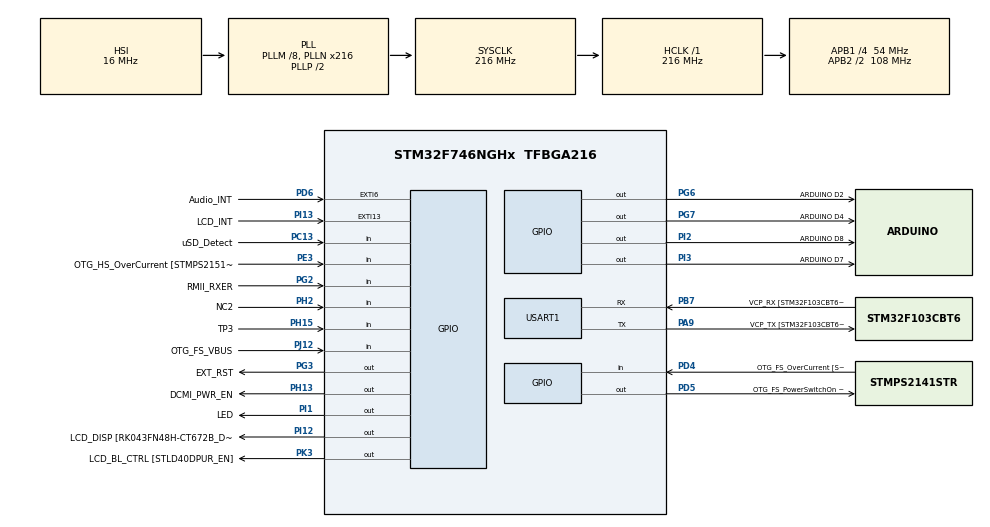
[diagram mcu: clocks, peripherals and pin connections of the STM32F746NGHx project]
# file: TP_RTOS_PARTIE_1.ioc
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FREERTOS.Tasks01=defaultTask,0,128,StartDefaultTask,Default,NULL,Dynamic,NULL,NULL
Mcu.Family=STM32F7
Mcu.Name=STM32F746NGHx
Mcu.Package=TFBGA216
NVIC.PriorityGroup=NVIC_PRIORITYGROUP_4
PA0/WKUP.GPIO_Label=ARDUINO A0
PA0/WKUP.GPIO_Mode=GPIO_MODE_ANALOG
PA0/WKUP.GPIO_PuPd=GPIO_NOPULL
PA0/WKUP.Signal=ADCx_IN0
PA1.GPIO_Label=RMII_REF_CLK [LAN8742A-CZ-TR_REFCLK0]
PA1.Signal=ETH_REF_CLK
PA10.GPIO_Label=OTG_FS_ID
PA10.Signal=USB_OTG_FS_ID
PA11.GPIO_Label=OTG_FS_N
PA11.Signal=USB_OTG_FS_DM
PA12.GPIO_Label=OTG_FS_P
PA12.Signal=USB_OTG_FS_DP
PA13.GPIO_Label=SWDIO
PA13.Mode=Serial_Wire
PA13.Signal=SYS_JTMS-SWDIO
PA14.GPIO_Label=SWCLK
PA14.Mode=Serial_Wire
PA14.Signal=SYS_JTCK-SWCLK
PA15.GPIO_Label=ARDUINO PWM/D9
PA15.GPIO_ModeDefaultPP=GPIO_MODE_AF_PP
PA15.GPIO_PuPd=GPIO_NOPULL
PA15.GPIO_Speed=GPIO_SPEED_FREQ_LOW
PA15.Signal=S_TIM2_CH1_ETR
PA2.GPIO_Label=RMII_MDIO [LAN8742A-CZ-TR_MDIO]
PA2.Signal=ETH_MDIO
PA3.GPIO_Label=ULPI_D0 [USB3320C-EZK_D0]
PA3.Signal=USB_OTG_HS_ULPI_D0
PA4.GPIO_Label=DCMI_HSYNC
PA4.Signal=DCMI_HSYNC
PA5.GPIO_Label=ULPI_CLK [USB3320C-EZK_CLKOUT]
PA5.Signal=USB_OTG_HS_ULPI_CK
PA6.Signal=DCMI_PIXCLK
PA7.GPIO_Label=RMII_CRS_DV [LAN8742A-CZ-TR_CRS_DV]
PA7.Signal=ETH_CRS_DV
PA8.GPIO_Label=ARDUINO PWM/D10
PA8.GPIO_ModeDefaultPP=GPIO_MODE_AF_PP
PA8.GPIO_PuPd=GPIO_NOPULL
PA8.GPIO_Speed=GPIO_SPEED_FREQ_LOW
PA8.Signal=S_TIM1_CH1
PA9.GPIO_Label=VCP_TX [STM32F103CBT6_PA3]
PA9.GPIO_Mode=GPIO_MODE_AF_PP
PA9.GPIO_PuPd=GPIO_NOPULL
PA9.GPIO_Speed=GPIO_SPEED_FREQ_LOW
PA9.Mode=Asynchronous
PA9.Signal=USART1_TX
PB0.GPIO_Label=ULPI_D1 [USB3320C-EZK_D1]
PB0.Signal=USB_OTG_HS_ULPI_D1
PB1.GPIO_Label=ULPI_D2 [USB3320C-EZK_D2]
PB1.Signal=USB_OTG_HS_ULPI_D2
PB10.GPIO_Label=ULPI_D3 [USB3320C-EZK_D3]
PB10.Signal=USB_OTG_HS_ULPI_D3
PB11.GPIO_Label=ULPI_D4 [USB3320C-EZK_D4]
PB11.Signal=USB_OTG_HS_ULPI_D4
PB12.GPIO_Label=ULPI_D5 [USB3320C-EZK_D5]
PB12.Signal=USB_OTG_HS_ULPI_D5
PB13.GPIO_Label=ULPI_D6 [USB3320C-EZK_D6]
PB13.Signal=USB_OTG_HS_ULPI_D6
PB14.GPIO_Label=ARDUINO MISO/D12
PB14.GPIO_Mode=GPIO_MODE_AF_PP
PB14.GPIO_PuPd=GPIO_NOPULL
PB14.GPIO_Speed=GPIO_SPEED_FREQ_LOW
PB14.Signal=SPI2_MISO
PB15.GPIO_Label=ARDUINO MOSI/PWM/D11
PB15.GPIO_Mode=GPIO_MODE_AF_PP
PB15.GPIO_PuPd=GPIO_NOPULL
PB15.GPIO_Speed=GPIO_SPEED_FREQ_LOW
PB15.Signal=SPI2_MOSI
PB2.Signal=QUADSPI_CLK
PB3.GPIO_Label=SWO
PB3.Signal=SYS_JTDO-SWO
PB4.GPIO_Label=ARDUINO PWM/D3
PB4.GPIO_ModeDefaultPP=GPIO_MODE_AF_PP
PB4.GPIO_PuPd=GPIO_NOPULL
PB4.GPIO_Speed=GPIO_SPEED_FREQ_LOW
PB4.Signal=S_TIM3_CH1
PB5.GPIO_Label=ULPI_D7 [USB3320C-EZK_D7]
PB5.Signal=USB_OTG_HS_ULPI_D7
PB6.GPIO_Label=QSPI_NCS [N25Q128A13EF840E_S]
PB6.Signal=QUADSPI_BK1_NCS
PB7.GPIO_Label=VCP_RX [STM32F103CBT6_PA2]
PB7.GPIO_Mode=GPIO_MODE_AF_PP
PB7.GPIO_PuPd=GPIO_NOPULL
PB7.GPIO_Speed=GPIO_SPEED_FREQ_LOW
PB7.Mode=Asynchronous
PB7.Signal=USART1_RX
PB8.GPIO_Label=ARDUINO SCL/D15
PB8.GPIO_Mode=GPIO_MODE_AF_OD
PB8.GPIO_PuPd=GPIO_NOPULL
PB8.GPIO_Speed=GPIO_SPEED_FREQ_LOW
PB8.Signal=I2C1_SCL
PB9.GPIO_Label=ARDUINO SDA/D14
PB9.GPIO_Mode=GPIO_MODE_AF_OD
PB9.GPIO_PuPd=GPIO_NOPULL
PB9.GPIO_Speed=GPIO_SPEED_FREQ_LOW
PB9.Signal=I2C1_SDA
PC0.GPIO_Label=ULPI_STP [USB3320C-EZK_STP]
PC0.Signal=USB_OTG_HS_ULPI_STP
PC1.GPIO_Label=RMII_MDC [LAN8742A-CZ-TR_MDC]
PC1.Signal=ETH_MDC
PC10.GPIO_Label=SDMMC_D2
PC10.Signal=SDMMC1_D2
PC11.GPIO_Label=SDMMC_D3
PC11.Signal=SDMMC1_D3
PC12.GPIO_Label=SDMMC_CK
PC12.Signal=SDMMC1_CK
PC13.GPIO_Label=uSD_Detect
PC13.Signal=GPIO_Input
PC14/OSC32_IN.GPIO_Label=RCC_OSC32_IN
PC14/OSC32_IN.Signal=RCC_OSC32_IN
PC15/OSC32_OUT.GPIO_Label=RCC_OSC32_OUT
PC15/OSC32_OUT.Signal=RCC_OSC32_OUT
PC2.GPIO_Label=ULPI_DIR [USB3320C-EZK_DIR]
PC2.Signal=USB_OTG_HS_ULPI_DIR
PC3.GPIO_Label=FMC_SDCKE0 [MT48LC4M32B2B5-6A_CKE]
PC3.Signal=FMC_SDCKE0
PC4.GPIO_Label=RMII_RXD0 [LAN8742A-CZ-TR_RXD0]
PC4.Signal=ETH_RXD0
PC5.GPIO_Label=RMII_RXD1 [LAN8742A-CZ-TR_RXD1]
PC5.Signal=ETH_RXD1
PC6.GPIO_Label=ARDUINO TX/D1
PC6.Signal=USART6_TX
PC7.GPIO_Label=ARDUINO RX/D0
PC7.Signal=USART6_RX
PC8.Signal=SDMMC1_D0
PC9.Signal=SDMMC1_D1
PD0.GPIO_Label=FMC_D2 [MT48LC4M32B2B5-6A_DQ2]
PD0.Signal=FMC_D2_DA2
PD1.GPIO_Label=FMC_D3 [MT48LC4M32B2B5-6A_DQ3]
PD1.Signal=FMC_D3_DA3
PD10.GPIO_Label=FMC_D15 [MT48LC4M32B2B5-6A_DQ15]
PD10.Signal=FMC_D15_DA15
PD11.GPIO_Label=QSPI_D0 [N25Q128A13EF840E_DQ0]
PD11.Signal=QUADSPI_BK1_IO0
PD12.GPIO_Label=QSPI_D1 [N25Q128A13EF840E_DQ1]
PD12.Signal=QUADSPI_BK1_IO1
PD13.GPIO_Label=QSPI_D3 [N25Q128A13EF840E_DQ3]
PD13.Signal=QUADSPI_BK1_IO3
PD14.GPIO_Label=FMC_D0 [MT48LC4M32B2B5-6A_DQ0]
PD14.Signal=FMC_D0_DA0
PD15.GPIO_Label=FMC_D1 [MT48LC4M32B2B5-6A_DQ1]
PD15.Signal=FMC_D1_DA1
PD2.GPIO_Label=SDMMC_D0
PD2.Signal=SDMMC1_CMD
PD3.GPIO_Label=DCMI_D5
PD3.Signal=DCMI_D5
PD4.GPIO_Label=OTG_FS_OverCurrent [STMPS2141STR_Fault]
PD4.Signal=GPIO_Input
PD5.GPIO_Label=OTG_FS_PowerSwitchOn [STMPS2141STR_EN]
PD5.PinState=GPIO_PIN_SET
PD5.Signal=GPIO_Output
PD6.GPIO_Label=Audio_INT
PD6.GPIO_ModeDefaultEXTI=GPIO_MODE_EVT_RISING
PD6.Signal=GPXTI6
PD7.GPIO_Label=SPDIF_RX0 [74LVC1G04SE_4]
PD7.Signal=SPDIFRX_IN0
PD8.GPIO_Label=FMC_D13 [MT48LC4M32B2B5-6A_DQ13]
PD8.Signal=FMC_D13_DA13
PD9.GPIO_Label=FMC_D14 [MT48LC4M32B2B5-6A_DQ14]
PD9.Signal=FMC_D14_DA14
PE0.GPIO_Label=FMC_NBL0 [MT48LC4M32B2B5-6A_DQM0]
PE0.Signal=FMC_NBL0
PE1.GPIO_Label=FMC_NBL1 [MT48LC4M32B2B5-6A_DQM1]
PE1.Signal=FMC_NBL1
PE10.GPIO_Label=FMC_D7 [MT48LC4M32B2B5-6A_DQ7]
PE10.Signal=FMC_D7_DA7
PE11.GPIO_Label=FMC_D8 [MT48LC4M32B2B5-6A_DQ8]
PE11.Signal=FMC_D8_DA8
PE12.GPIO_Label=FMC_D9 [MT48LC4M32B2B5-6A_DQ9]
PE12.Signal=FMC_D9_DA9
PE13.GPIO_Label=FMC_D10 [MT48LC4M32B2B5-6A_DQ10]
PE13.Signal=FMC_D10_DA10
PE14.GPIO_Label=FMC_D11 [MT48LC4M32B2B5-6A_DQ11]
PE14.Signal=FMC_D11_DA11
PE15.GPIO_Label=FMC_D12 [MT48LC4M32B2B5-6A_DQ12]
PE15.Signal=FMC_D12_DA12
PE2.GPIO_Label=QSPI_D2 [N25Q128A13EF840E_DQ2]
PE2.Signal=QUADSPI_BK1_IO2
PE3.GPIO_Label=OTG_HS_OverCurrent [STMPS2151STR_FAULT]
PE3.Signal=GPIO_Input
PE4.GPIO_Label=LCD_B0 [RK043FN48H-CT672B_B0]
PE4.Signal=LTDC_B0
PE5.GPIO_Label=DCMI_D6
PE5.Signal=DCMI_D6
PE6.GPIO_Label=DCMI_D7
PE6.Signal=DCMI_D7
PE7.GPIO_Label=FMC_D4 [MT48LC4M32B2B5-6A_DQ4]
PE7.Signal=FMC_D4_DA4
PE8.GPIO_Label=FMC_D5 [MT48LC4M32B2B5-6A_DQ5]
PE8.Signal=FMC_D5_DA5
PE9.GPIO_Label=FMC_D6 [MT48LC4M32B2B5-6A_DQ6]
PE9.Signal=FMC_D6_DA6
PF0.GPIO_Label=FMC_A0 [MT48LC4M32B2B5-6A_A0]
PF0.Signal=FMC_A0
PF1.GPIO_Label=FMC_A1 [MT48LC4M32B2B5-6A_A1]
PF1.Signal=FMC_A1
PF10.GPIO_Label=ARDUINO A1
PF10.GPIO_Mode=GPIO_MODE_ANALOG
PF10.GPIO_PuPd=GPIO_NOPULL
PF10.Signal=ADC3_IN8
PF11.GPIO_Label=FMC_SDNRAS [MT48LC4M32B2B5-6A_RAS]
PF11.Signal=FMC_SDNRAS
PF12.GPIO_Label=FMC_A6 [MT48LC4M32B2B5-6A_A6]
PF12.Signal=FMC_A6
PF13.GPIO_Label=FMC_A7 [MT48LC4M32B2B5-6A_A7]
PF13.Signal=FMC_A7
PF14.GPIO_Label=FMC_A8 [MT48LC4M32B2B5-6A_A8]
PF14.Signal=FMC_A8
PF15.GPIO_Label=FMC_A9 [MT48LC4M32B2B5-6A_A9]
PF15.Signal=FMC_A9
PF2.GPIO_Label=FMC_A2 [MT48LC4M32B2B5-6A_A2]
PF2.Signal=FMC_A2
PF3.GPIO_Label=FMC_A3 [MT48LC4M32B2B5-6A_A3]
PF3.Signal=FMC_A3
PF4.GPIO_Label=FMC_A4 [MT48LC4M32B2B5-6A_A4]
PF4.Signal=FMC_A4
PF5.GPIO_Label=FMC_A5 [MT48LC4M32B2B5-6A_A5]
PF5.Signal=FMC_A5
PF6.GPIO_Label=ARDUINO A5
PF6.GPIO_Mode=GPIO_MODE_ANALOG
PF6.GPIO_PuPd=GPIO_NOPULL
PF6.Signal=ADC3_IN4
PF7.GPIO_Label=ARDUINO A4
PF7.GPIO_Mode=GPIO_MODE_ANALOG
PF7.GPIO_PuPd=GPIO_NOPULL
PF7.Signal=ADC3_IN5
PF8.GPIO_Label=ARDUINO A3
PF8.GPIO_Mode=GPIO_MODE_ANALOG
PF8.GPIO_PuPd=GPIO_NOPULL
PF8.Signal=ADC3_IN6
PF9.GPIO_Label=ARDUINO A2
PF9.GPIO_Mode=GPIO_MODE_ANALOG
PF9.GPIO_PuPd=GPIO_NOPULL
PF9.Signal=ADC3_IN7
PG0.GPIO_Label=FMC_A10 [MT48LC4M32B2B5-6A_A10]
PG0.Signal=FMC_A10
PG1.GPIO_Label=FMC_A11 [MT48LC4M32B2B5-6A_A11]
PG1.Signal=FMC_A11
PG10.GPIO_Label=SAI2_SDB [WM8994ECS/R_ADCDAT1]
PG10.Signal=SAI2_SD_B
PG11.GPIO_Label=RMII_TX_EN [LAN8742A-CZ-TR_TXEN]
PG11.Signal=ETH_TX_EN
PG12.GPIO_Label=LCD_B4 [RK043FN48H-CT672B_B4]
PG12.Signal=LTDC_B4
PG13.GPIO_Label=RMII_TXD0 [LAN8742A-CZ-TR_TXD0]
PG13.Signal=ETH_TXD0
PG14.GPIO_Label=RMII_TXD1 [LAN8742A-CZ-TR_TXD1]
PG14.Signal=ETH_TXD1
PG15.GPIO_Label=FMC_SDNCAS [MT48LC4M32B2B5-6A_CAS]
PG15.Signal=FMC_SDNCAS
PG2.GPIO_Label=RMII_RXER
PG2.Signal=GPIO_Input
PG3.GPIO_Label=EXT_RST
PG3.Signal=GPIO_Output
PG4.GPIO_Label=FMC_BA0 [MT48LC4M32B2B5-6A_BA0]
PG4.Signal=FMC_A14_BA0
PG5.GPIO_Label=FMC_BA1 [MT48LC4M32B2B5-6A_BA1]
PG5.Signal=FMC_A15_BA1
PG6.GPIO_Label=ARDUINO D2
PG6.Signal=GPIO_Output
PG7.GPIO_Label=ARDUINO D4
PG7.Signal=GPIO_Output
PG8.GPIO_Label=FMC_SDCLK [MT48LC4M32B2B5-6A_CLK]
PG8.Signal=FMC_SDCLK
PG9.GPIO_Label=DCMI_VSYNC
PG9.Signal=DCMI_VSYNC
PH0/OSC_IN.GPIO_Label=OSC_25M [NZ2520SB-25.00M_OUT]
PH0/OSC_IN.Mode=HSE-External-Oscillator
PH0/OSC_IN.Signal=RCC_OSC_IN
PH1/OSC_OUT.Mode=HSE-External-Oscillator
PH1/OSC_OUT.Signal=RCC_OSC_OUT
PH10.GPIO_Label=DCMI_D1
PH10.Signal=DCMI_D1
PH11.GPIO_Label=DCMI_D2
PH11.Signal=DCMI_D2
PH12.GPIO_Label=DCMI_D3
PH12.Signal=DCMI_D3
PH13.GPIO_Label=DCMI_PWR_EN
PH13.Signal=GPIO_Output
PH14.GPIO_Label=DCMI_D4
PH14.Signal=DCMI_D4
PH15.GPIO_Label=TP3
PH15.Signal=GPIO_Input
PH2.GPIO_Label=NC2
PH2.Signal=GPIO_Input
PH3.GPIO_Label=FMC_SDNE0 [MT48LC4M32B2B5-6A_CS]
PH3.Signal=FMC_SDNE0
PH4.GPIO_Label=ULPI_NXT [USB3320C-EZK_NXT]
PH4.Signal=USB_OTG_HS_ULPI_NXT
PH5.GPIO_Label=FMC_SDNME [MT48LC4M32B2B5-6A_WE]
PH5.Signal=FMC_SDNWE
PH6.GPIO_Label=ARDUINO PWM/D6
PH6.Signal=S_TIM12_CH1
PH7.GPIO_Label=LCD_SCL [RK043FN48H-CT672B_SCL]
PH7.Signal=I2C3_SCL
PH8.GPIO_Label=LCD_SDA [RK043FN48H-CT672B_SDA]
PH8.Signal=I2C3_SDA
PH9.GPIO_Label=DCMI_D0
PH9.Signal=DCMI_D0
PI0.GPIO_Label=ARDUINO PWM/CS/D5
PI0.GPIO_ModeDefaultPP=GPIO_MODE_AF_PP
PI0.GPIO_PuPd=GPIO_NOPULL
PI0.GPIO_Speed=GPIO_SPEED_FREQ_LOW
PI0.Signal=S_TIM5_CH4
PI1.GPIO_Label=LED
PI1.Signal=GPIO_Output
PI10.GPIO_Label=LCD_HSYNC [RK043FN48H-CT672B_HSYNC]
PI10.Signal=LTDC_HSYNC
PI12.GPIO_Label=LCD_DISP [RK043FN48H-CT672B_DISP] 
PI12.Signal=GPIO_Output
PI13.GPIO_Label=LCD_INT
PI13.GPIO_ModeDefaultEXTI=GPIO_MODE_EVT_RISING
PI13.Signal=GPXTI13
PI14.GPIO_Label=LCD_CLK [RK043FN48H-CT672B_CLK]
PI14.Signal=LTDC_CLK
PI15.GPIO_Label=LCD_R0 [RK043FN48H-CT672B_R0]
PI15.Signal=LTDC_R0
PI2.GPIO_Label=ARDUINO D8
PI2.Signal=GPIO_Output
PI3.GPIO_Label=ARDUINO D7
PI3.Signal=GPIO_Output
PI4.GPIO_Label=SAI2_MCLKA [WM8994ECS/R_MCLK1]
PI4.Signal=SAI2_MCLK_A
PI5.GPIO_Label=SAI2_SCKA [WM8994ECS/R_BCLK1]
PI5.Signal=SAI2_SCK_A
PI6.GPIO_Label=SAI2_SDA [WM8994ECS/R_DACDAT1]
PI6.Signal=SAI2_SD_A
PI7.GPIO_Label=SAI2_FSA [WM8994ECS/R_LRCLK1]
PI7.Signal=SAI2_FS_A
PI8.GPIO_Label=NC1 [TP2]
PI8.Signal=RTC_TS
PI9.GPIO_Label=LCD_VSYNC [RK043FN48H-CT672B_VSYNC]
PI9.Signal=LTDC_VSYNC
PJ0.GPIO_Label=LCD_R1 [RK043FN48H-CT672B_R1]
PJ0.Signal=LTDC_R1
PJ1.GPIO_Label=LCD_R2 [RK043FN48H-CT672B_R2]
PJ1.Signal=LTDC_R2
PJ10.GPIO_Label=LCD_G3 [RK043FN48H-CT672B_G3]
PJ10.Signal=LTDC_G3
PJ11.GPIO_Label=LCD_G4 [RK043FN48H-CT672B_G4]
PJ11.Signal=LTDC_G4
PJ12.GPIO_Label=OTG_FS_VBUS
PJ12.Signal=GPIO_Input
PJ13.GPIO_Label=LCD_B1 [RK043FN48H-CT672B_B1]
PJ13.Signal=LTDC_B1
PJ14.GPIO_Label=LCD_B2 [RK043FN48H-CT672B_B2]
PJ14.Signal=LTDC_B2
PJ15.GPIO_Label=LCD_B3 [RK043FN48H-CT672B_B3]
PJ15.Signal=LTDC_B3
PJ2.GPIO_Label=LCD_R3 [RK043FN48H-CT672B_R3]
PJ2.Signal=LTDC_R3
PJ3.GPIO_Label=LCD_R4 [RK043FN48H-CT672B_R4]
PJ3.Signal=LTDC_R4
PJ4.GPIO_Label=LCD_R5 [RK043FN48H-CT672B_R5]
PJ4.Signal=LTDC_R5
PJ5.GPIO_Label=LCD_R6 [RK043FN48H-CT672B_R6]
PJ5.Signal=LTDC_R6
PJ6.GPIO_Label=LCD_R7 [RK043FN48H-CT672B_R7]
PJ6.Signal=LTDC_R7
PJ7.GPIO_Label=LCD_G0 [RK043FN48H-CT672B_G0]
PJ7.Signal=LTDC_G0
PJ8.GPIO_Label=LCD_G1 [RK043FN48H-CT672B_G1]
PJ8.Signal=LTDC_G1
PJ9.GPIO_Label=LCD_G2 [RK043FN48H-CT672B_G2]
PJ9.Signal=LTDC_G2
PK0.GPIO_Label=LCD_G5 [RK043FN48H-CT672B_G5]
PK0.Signal=LTDC_G5
PK1.GPIO_Label=LCD_G6 [RK043FN48H-CT672B_G6]
PK1.Signal=LTDC_G6
PK2.GPIO_Label=LCD_G7 [RK043FN48H-CT672B_G7]
PK2.Signal=LTDC_G7
PK3.GPIO_Label=LCD_BL_CTRL [STLD40DPUR_EN]
PK3.Signal=GPIO_Output
PK4.GPIO_Label=LCD_B5 [RK043FN48H-CT672B_B5]
PK4.Signal=LTDC_B5
PK5.GPIO_Label=LCD_B6 [RK043FN48H-CT672B_B6]
PK5.Signal=LTDC_B6
PK6.GPIO_Label=LCD_B7 [RK043FN48H-CT672B_B7]
PK6.Signal=LTDC_B7
PK7.GPIO_Label=LCD_DE [RK043FN48H-CT672B_DE]
PK7.Signal=LTDC_DE
ProjectManager.HeapSize=0x200
ProjectManager.StackSize=0x400
ProjectManager.TargetToolchain=STM32CubeIDE
RCC.AHBFreq_Value=216000000
RCC.APB1CLKDivider=RCC_HCLK_DIV4
RCC.APB1Freq_Value=54000000
RCC.APB1TimFreq_Value=108000000
RCC.APB2CLKDivider=RCC_HCLK_DIV2
RCC.APB2Freq_Value=108000000
RCC.APB2TimFreq_Value=216000000
RCC.CortexFreq_Value=216000000
RCC.HCLKFreq_Value=216000000
RCC.HSE_VALUE=25000000
RCC.HSI_VALUE=16000000
RCC.LSE_VALUE=32768
RCC.PLLM=8
RCC.PLLN=216
RCC.PLLSourceVirtual=RCC_PLLSOURCE_HSI
RCC.SYSCLKFreq_VALUE=216000000
RCC.SYSCLKSource=RCC_SYSCLKSOURCE_PLLCLK
RCC.USBFreq_Value=216000000
RCC.VCOOutputFreq_Value=432000000
SH.ADCx_IN0.0=ADC3_IN0
SH.FMC_A0.0=FMC_A0
SH.FMC_A1.0=FMC_A1
SH.FMC_A10.0=FMC_A10
SH.FMC_A11.0=FMC_A11
SH.FMC_A14_BA0.0=FMC_BA0
SH.FMC_A15_BA1.0=FMC_BA1
SH.FMC_A2.0=FMC_A2
SH.FMC_A3.0=FMC_A3
SH.FMC_A4.0=FMC_A4
SH.FMC_A5.0=FMC_A5
SH.FMC_A6.0=FMC_A6
SH.FMC_A7.0=FMC_A7
SH.FMC_A8.0=FMC_A8
SH.FMC_A9.0=FMC_A9
SH.FMC_D0_DA0.0=FMC_D0
SH.FMC_D10_DA10.0=FMC_D10
SH.FMC_D11_DA11.0=FMC_D11
SH.FMC_D12_DA12.0=FMC_D12
SH.FMC_D13_DA13.0=FMC_D13
SH.FMC_D14_DA14.0=FMC_D14
SH.FMC_D15_DA15.0=FMC_D15
SH.FMC_D1_DA1.0=FMC_D1
SH.FMC_D2_DA2.0=FMC_D2
SH.FMC_D3_DA3.0=FMC_D3
SH.FMC_D4_DA4.0=FMC_D4
SH.FMC_D5_DA5.0=FMC_D5
SH.FMC_D6_DA6.0=FMC_D6
SH.FMC_D7_DA7.0=FMC_D7
SH.FMC_D8_DA8.0=FMC_D8
SH.FMC_D9_DA9.0=FMC_D9
SH.FMC_NBL0.0=FMC_NBL0
SH.FMC_NBL1.0=FMC_NBL1
SH.FMC_SDCLK.0=FMC_SDCLK
SH.FMC_SDNCAS.0=FMC_SDNCAS
SH.FMC_SDNRAS.0=FMC_SDNRAS
SH.FMC_SDNWE.0=FMC_SDNWE
SH.S_TIM12_CH1.0=TIM12_CH1
SH.S_TIM1_CH1.0=TIM1_CH1
SH.S_TIM2_CH1_ETR.0=TIM2_CH1
SH.S_TIM3_CH1.0=TIM3_CH1
SH.S_TIM5_CH4.0=TIM5_CH4
USART1.VirtualMode-Asynchronous=VM_ASYNC
VP_FREERTOS_VS_CMSIS_V1.Mode=CMSIS_V1
board=STM32F746G-DISCO

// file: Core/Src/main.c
/* USER CODE BEGIN Header */
/**
  ******************************************************************************
  * @file           : main.c
  * @brief          : Main program body
  ******************************************************************************
  * @attention
  *
  * Copyright (c) 2022 STMicroelectronics.
  * All rights reserved.
  *
  * This software is licensed under terms that can be found in the LICENSE file
  * in the root directory of this software component.
  * If no LICENSE file comes with this software, it is provided AS-IS.
  *
  ******************************************************************************
  */
/* USER CODE END Header */
#include "main.h"
#include "cmsis_os.h"
#include "usart.h"
#include "gpio.h"

/* USER CODE BEGIN Includes */
#include <stdio.h>
#include <task.h>
/* USER CODE END Includes */

/* USER CODE BEGIN PTD */
 SemaphoreHandle_t xSemaphore1;
 QueueHandle_t xQueue1;
 TaskHandle_t xHandle3 = NULL;
/* USER CODE END PTD */

/* USER CODE BEGIN PV */
	int i=100;
/* USER CODE END PV */

void SystemClock_Config(void);
void MX_FREERTOS_Init(void);

/* USER CODE BEGIN 0 */
int __io_putchar(int ch){
	HAL_UART_Transmit(&huart1, (uint8_t *)&ch, 1, HAL_MAX_DELAY);
	return ch;
}
/*void vTaskLED( void * pvParameters )
  {
      for( ;; )
      {
		          HAL_GPIO_TogglePin(GPIOI, LED_Pin);
	     //       printf("test");
		          vTaskDelay(100);
      }
  }*/

void vTaskTake( void * pvParameters )
  {

      for( ;; )
      {
    	  char RxTimerBuff[100];
    	  printf("Task va prendre le semaphore\r\n");
    	  //if(xSemaphoreTake(xSemaphore1 ,1000) == pdTRUE)
    		  if(ulTaskNotifyTake(pdTRUE, 1000) == pdTRUE)
    			  {
    		  printf("Semaphore pris: \r\n");
    		  if(xQueueReceive(xQueue1,(void*)RxTimerBuff, (TickType_t)5))
    		  		{
    		     	printf("timer: %s\r\n", RxTimerBuff);
    		      		}
    			  }
    	  else{
    		  printf("reset\r\n");
    		 NVIC_SystemReset();
    		 i=0;
    	  }
      }
  }

vTaskGive( void * pvParameters )
  {
	char TxTimerBuff[100];
	xQueue1 = xQueueCreate(10, sizeof(TxTimerBuff));
      for( ;; )
      {		  printf("Task va donner le semaphore\r\n");
    	  	  //xSemaphoreGive( xSemaphore1 );
      sprintf(TxTimerBuff, "%d",i);
       	  xQueueSend(xQueue1, (void*) TxTimerBuff,(TickType_t) 0);

      	  	  xTaskNotifyGive(xHandle3);
    	  	  printf("Semaphore donné\r\n");
		     // printf("i= %d",i);
    	  vTaskDelay(i);
    	  i=i+100;
      }
  }

/* USER CODE END 0 */

int main(void)
{
  /* USER CODE BEGIN 1 */
    BaseType_t xReturned;
//  TaskHandle_t xHandle1 = NULL;
    TaskHandle_t xHandle2 = NULL;

    //SemaphoreHandle_t xSemaphore1;
  /* USER CODE END 1 */

  /* MCU Configuration--------------------------------------------------------*/

  /* Reset of all peripherals, Initializes the Flash interface and the Systick. */
  HAL_Init();

  /* Configure the system clock */
  SystemClock_Config();

  /* Initialize all configured peripherals */
  MX_GPIO_Init();
  MX_USART1_UART_Init();
  /* USER CODE BEGIN 2 */

        /* Create the task, storing the handle. */
   // xReturned = xTaskCreate(
     //                    vTaskLED,       /* Function that implements the task. */
       //                  "LED_BLINK",          /* Text name for the task. */
         //                128,      /* Stack size in words, not bytes. */
           ///              ( void * ) 1,    /* Parameter passed into the task. */
              //           1,/* Priority at which the task is created. */
                //         &xHandle1 );

    xReturned = xTaskCreate(
                             vTaskGive,       /* Function that implements the task. */
                             "taskGive",          /* Text name for the task. */
                             128,      /* Stack size in words, not bytes. */
                             ( void * ) 1,    /* Parameter passed into the task. */
                             3,/* Priority at which the task is created. */
                             &xHandle2 );

    xReturned = xTaskCreate(
                             vTaskTake,       /* Function that implements the task. */
                             "taskTake",          /* Text name for the task. */
                             128,      /* Stack size in words, not bytes. */
                             ( void * ) 1,    /* Parameter passed into the task. */
                             2,/* Priority at which the task is created. */
                             &xHandle3 );

    xSemaphore1 = xSemaphoreCreateBinary();

    vTaskStartScheduler();
  /* USER CODE END 2 */

  /* Call init function for freertos objects (in freertos.c) */
  MX_FREERTOS_Init();

  /* Start scheduler */
  osKernelStart();

  /* We should never get here as control is now taken by the scheduler */
  /* Infinite loop */
  while (1)
  {
//test

  }
}

void SystemClock_Config(void)
{
  RCC_OscInitTypeDef RCC_OscInitStruct = {0};
  RCC_ClkInitTypeDef RCC_ClkInitStruct = {0};

  /** Configure the main internal regulator output voltage
  */
  __HAL_RCC_PWR_CLK_ENABLE();
  __HAL_PWR_VOLTAGESCALING_CONFIG(PWR_REGULATOR_VOLTAGE_SCALE1);

  /** Initializes the RCC Oscillators according to the specified parameters
  * in the RCC_OscInitTypeDef structure.
  */
  RCC_OscInitStruct.OscillatorType = RCC_OSCILLATORTYPE_HSI;
  RCC_OscInitStruct.HSIState = RCC_HSI_ON;
  RCC_OscInitStruct.HSICalibrationValue = RCC_HSICALIBRATION_DEFAULT;
  RCC_OscInitStruct.PLL.PLLState = RCC_PLL_ON;
  RCC_OscInitStruct.PLL.PLLSource = RCC_PLLSOURCE_HSI;
  RCC_OscInitStruct.PLL.PLLM = 8;
  RCC_OscInitStruct.PLL.PLLN = 216;
  RCC_OscInitStruct.PLL.PLLP = RCC_PLLP_DIV2;
  RCC_OscInitStruct.PLL.PLLQ = 2;
  if (HAL_RCC_OscConfig(&RCC_OscInitStruct) != HAL_OK)
  {
    Error_Handler();
  }

  /** Activate the Over-Drive mode
  */
  if (HAL_PWREx_EnableOverDrive() != HAL_OK)
  {
    Error_Handler();
  }

  /** Initializes the CPU, AHB and APB buses clocks
  */
  RCC_ClkInitStruct.ClockType = RCC_CLOCKTYPE_HCLK|RCC_CLOCKTYPE_SYSCLK
                              |RCC_CLOCKTYPE_PCLK1|RCC_CLOCKTYPE_PCLK2;
  RCC_ClkInitStruct.SYSCLKSource = RCC_SYSCLKSOURCE_PLLCLK;
  RCC_ClkInitStruct.AHBCLKDivider = RCC_SYSCLK_DIV1;
  RCC_ClkInitStruct.APB1CLKDivider = RCC_HCLK_DIV4;
  RCC_ClkInitStruct.APB2CLKDivider = RCC_HCLK_DIV2;

  if (HAL_RCC_ClockConfig(&RCC_ClkInitStruct, FLASH_LATENCY_7) != HAL_OK)
  {
    Error_Handler();
  }
}

void Error_Handler(void)
{
  __disable_irq();
  while (1)
  {
  }
}
